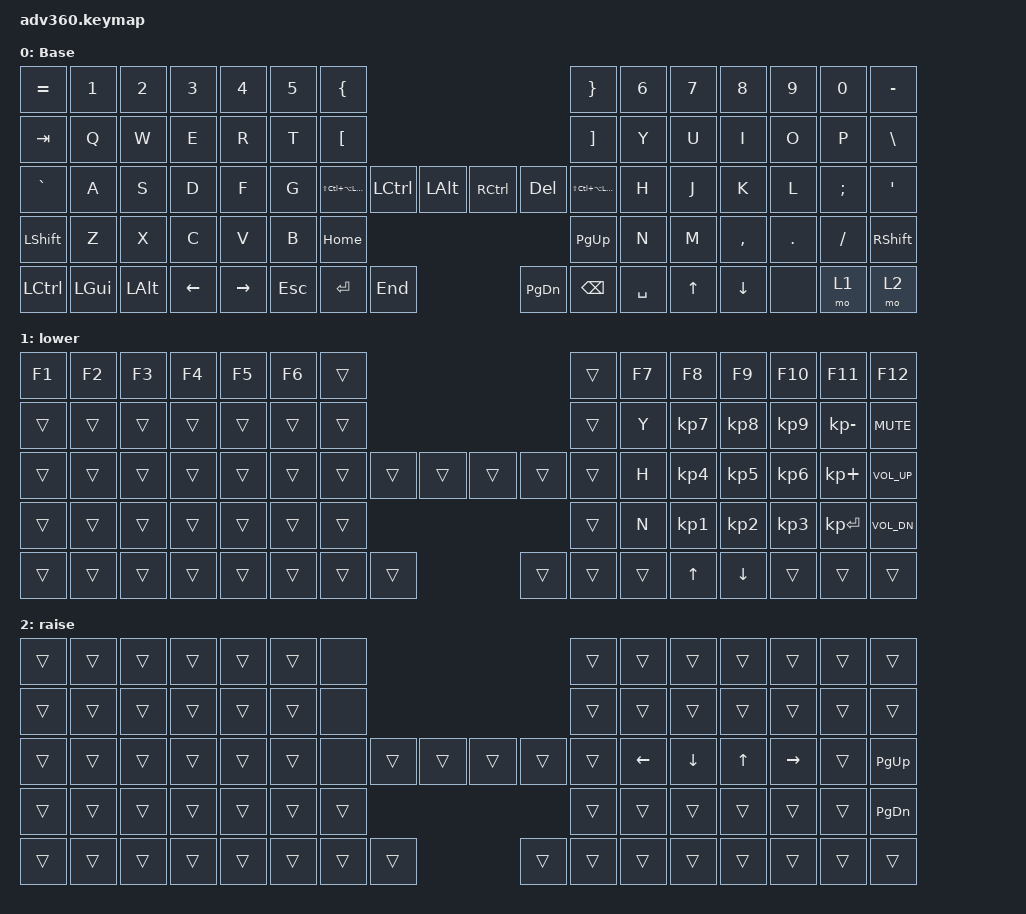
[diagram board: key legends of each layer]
#include <behaviors.dtsi>
#include <dt-bindings/zmk/keys.h>
#include <dt-bindings/zmk/bt.h>
#include <dt-bindings/zmk/rgb.h>
#include <dt-bindings/zmk/stp.h>
#include <dt-bindings/zmk/backlight.h>
#include <dt-bindings/zmk/pointing.h>

#define HYP LS(LC(LA(LGUI)))

/ {
    behaviors {
      #include "macros.dtsi"
      #include "version.dtsi"

      hm: homerow_mods {
          compatible = "zmk,behavior-hold-tap";
          label = "HOMEROW_MODS";
          #binding-cells = <2>;
          tapping-term-ms = <200>;
          quick_tap_ms = <175>;
          flavor = "tap-preferred";
          bindings = <&kp>, <&kp>;
      };
    };

  keymap {
    compatible = "zmk,keymap";

    default_layer {
      display-name = "Base";
      bindings = <
        &kp EQUAL &kp N1    &kp N2   &kp N3   &kp N4   &kp N5 &kp LBRC                                                           &kp RBRC &kp N6 &kp N7 &kp N8    &kp N9   &kp N0   &kp MINUS
        &kp TAB   &kp Q     &kp W    &kp E    &kp R    &kp T  &kp LBKT                                                           &kp RBKT &kp Y  &kp U  &kp I     &kp O    &kp P    &kp BSLH
        &kp GRAVE &kp A     &kp S    &kp D    &kp F    &kp G  &kp HYP             &kp LCTRL &kp LALT &kp RCTRL  &kp DEL          &kp HYP &kp H  &kp J  &kp K     &kp L     &kp SEMI &kp SQT
        &kp LSHFT &kp Z     &kp X    &kp C    &kp V    &kp B                              &kp HOME &kp PG_UP                             &kp N  &kp M  &kp COMMA &kp DOT   &kp FSLH &kp RSHFT
        &kp LCTRL &kp LGUI  &kp LALT &kp LEFT &kp RIGHT                 &kp ESC  &kp RET  &kp END  &kp PG_DN &kp BSPC &kp SPACE                 &kp UP &kp DOWN  &none     &mo 1    &mo 2
      >;
    };

    lower {
      display-name = "lower";
      bindings = <
        &kp F1    &kp F2    &kp F3   &kp F4   &kp F5     &kp F6 &trans                                                           &trans &kp F7 &kp F8     &kp F9     &kp F10    &kp F11         &kp F12 
        &trans   &trans     &trans    &trans    &trans   &trans &trans                                                           &trans &kp Y  &kp KP_N7  &kp KP_N8  &kp KP_N9  &kp KP_MINUS    &kp C_MUTE
        &trans   &trans     &trans    &trans    &trans   &trans &trans              &trans &trans &trans  &trans                 &trans &kp H  &kp KP_N4  &kp KP_N5  &kp KP_N6  &kp KP_PLUS     &kp C_VOL_UP 
        &trans   &trans     &trans    &trans    &trans   &trans                           &trans   &trans                               &kp N  &kp KP_N1  &kp KP_N2  &kp KP_N3  &kp KP_ENTER    &kp C_VOL_DN 
        &trans   &trans     &trans    &trans    &trans                      &trans &trans &trans   &trans &trans &trans                        &kp UP     &kp DOWN   &trans     &trans          &trans 
      >;
    };

    raise {
      display-name = "raise";
      bindings = <
        &trans &trans &trans &trans &trans &trans  &none                                           &trans &trans   &trans   &trans  &trans     &trans  &trans
        &trans &trans &trans &trans &trans &trans  &none                                           &trans &trans   &trans   &trans  &trans     &trans  &trans
        &trans &trans &trans &trans &trans &trans  &none        &trans &trans &trans &trans        &trans &kp LEFT &kp DOWN &kp UP  &kp RIGHT  &trans  &kp PG_UP
        &trans &trans &trans &trans &trans &trans                      &trans &trans                      &trans   &trans   &trans  &trans     &trans  &kp PG_DN
        &trans &trans &trans &trans &trans               &trans &trans &trans &trans &trans &trans                 &trans   &trans  &trans     &trans  &trans
      >;
    };

    extra1 { 
      display-name = "Red";    
      status = "reserved";
    };

    extra2 { 
      display-name = "Purple";    
      status = "reserved";
    };

    extra3 { 
      display-name = "Cyan";    
      status = "reserved";
    };

    extra4 { 
      display-name = "Yellow";    
      status = "reserved";
    };
  };
};
